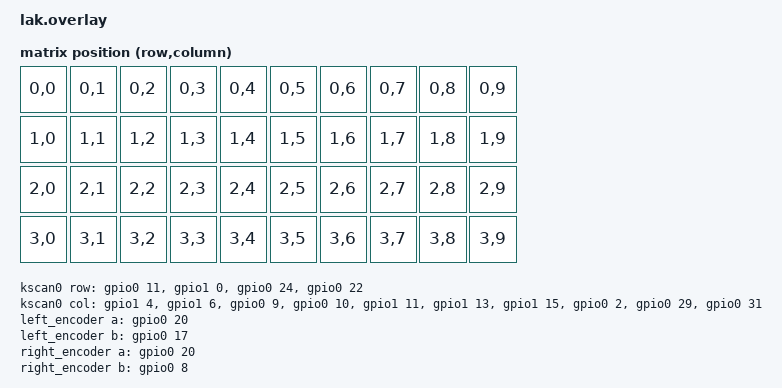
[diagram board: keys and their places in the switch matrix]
/*
 * Copyright (c) 2024
 * SPDX-License-Identifier: MIT
 */

#include <dt-bindings/zmk/matrix_transform.h>

/ {
    chosen {
        zmk,kscan = &kscan0;
        zmk,matrix_transform = &default_transform;
    };

    default_transform: keymap_transform_0 {
        compatible = "zmk,matrix-transform";
        columns = <10>;
        rows = <4>;
        map = <
            RC(0,0) RC(0,1) RC(0,2) RC(0,3) RC(0,4) RC(0,5) RC(0,6) RC(0,7) RC(0,8) RC(0,9)
            RC(1,0) RC(1,1) RC(1,2) RC(1,3) RC(1,4) RC(1,5) RC(1,6) RC(1,7) RC(1,8) RC(1,9)
            RC(2,0) RC(2,1) RC(2,2) RC(2,3) RC(2,4) RC(2,5) RC(2,6) RC(2,7) RC(2,8) RC(2,9)
            RC(3,0) RC(3,1) RC(3,2) RC(3,3) RC(3,4) RC(3,5) RC(3,6) RC(3,7) RC(3,8) RC(3,9)
        >;
    };

    kscan0: kscan {
        compatible = "zmk,kscan-gpio-matrix";
        
        // Diode direction: col2row (diodes connected to rows)
        diode-direction = "col2row";

        // Column GPIO configurations (10 columns) - REVERSED ORDER
        col-gpios = <
            &gpio1 4  GPIO_ACTIVE_HIGH  // Col 9 -> P1.04 (now Col 0)
            &gpio1 6  GPIO_ACTIVE_HIGH  // Col 8 -> P1.06 (now Col 1)
            &gpio0 9  GPIO_ACTIVE_HIGH  // Col 7 -> P0.09 (now Col 2)
            &gpio0 10 GPIO_ACTIVE_HIGH  // Col 6 -> P0.10 (now Col 3)
            &gpio1 11 GPIO_ACTIVE_HIGH  // Col 5 -> P1.11 (now Col 4)
            &gpio1 13 GPIO_ACTIVE_HIGH  // Col 4 -> P1.13 (now Col 5)
            &gpio1 15 GPIO_ACTIVE_HIGH  // Col 3 -> P1.15 (now Col 6)
            &gpio0 2  GPIO_ACTIVE_HIGH  // Col 2 -> P0.02 (now Col 7)
            &gpio0 29 GPIO_ACTIVE_HIGH  // Col 1 -> P0.29 (now Col 8)
            &gpio0 31 GPIO_ACTIVE_HIGH  // Col 0 -> P0.31 (now Col 9)
        >;

        // Row GPIO configurations (4 rows) with pull-down
        row-gpios = <
            &gpio0 11 (GPIO_ACTIVE_HIGH | GPIO_PULL_DOWN)  // Row 0 - PE6 -> P0.11
            &gpio1 0  (GPIO_ACTIVE_HIGH | GPIO_PULL_DOWN)  // Row 1 - PD7 -> P1.00
            &gpio0 24 (GPIO_ACTIVE_HIGH | GPIO_PULL_DOWN)  // Row 2 - PC6 -> P0.24
            &gpio0 22 (GPIO_ACTIVE_HIGH | GPIO_PULL_DOWN)  // Row 3 - PD4 -> P0.22
        >;
    };

    // Encoder definitions - SỬA: Xóa thuộc tính deprecated
    left_encoder: encoder_left {
        compatible = "alps,ec11";
        a-gpios = <&gpio0 20 (GPIO_ACTIVE_HIGH | GPIO_PULL_UP)>;
        b-gpios = <&gpio0 17 (GPIO_ACTIVE_HIGH | GPIO_PULL_UP)>;
        steps = <20>;  // THAY resolution = <4> BẰNG steps = <20>
    };

    right_encoder: encoder_right {
        compatible = "alps,ec11";
        a-gpios = <&gpio0 20 (GPIO_ACTIVE_HIGH | GPIO_PULL_UP)>;
        b-gpios = <&gpio0 8 (GPIO_ACTIVE_HIGH | GPIO_PULL_UP)>;
        steps = <4>;  
    };

    sensors {
        compatible = "zmk,keymap-sensors";
        sensors = <&left_encoder &right_encoder>;
    };
};
